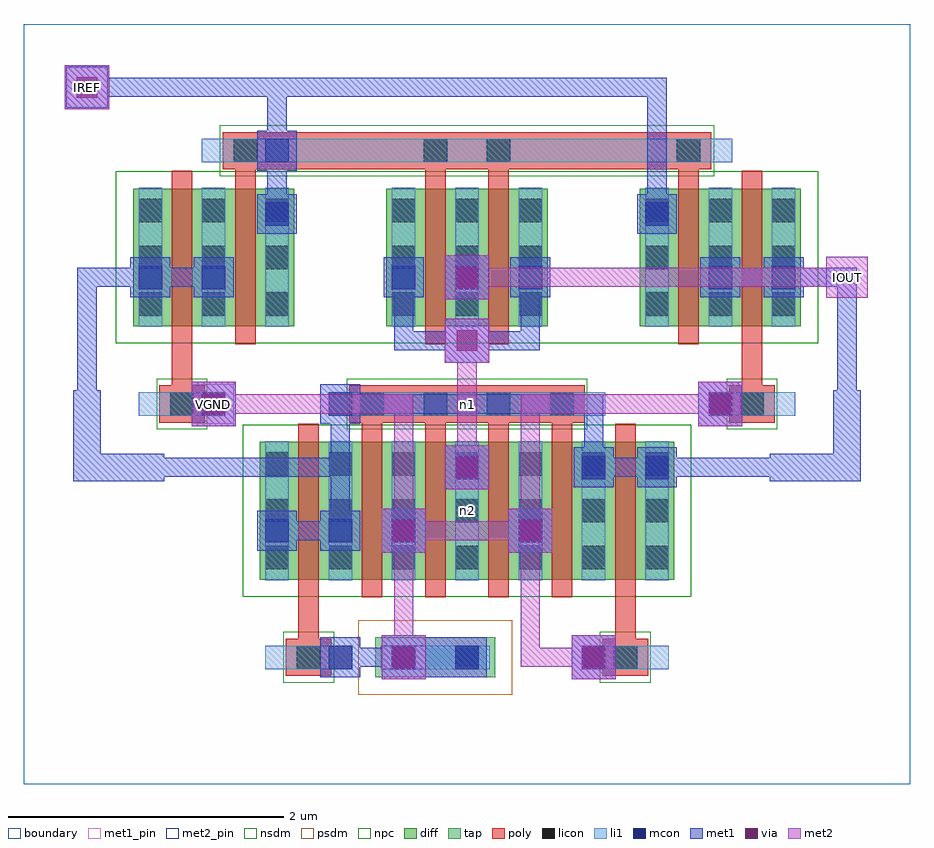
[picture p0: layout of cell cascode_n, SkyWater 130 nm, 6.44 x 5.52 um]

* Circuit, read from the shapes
.subckt cascode_n IOUT IREF VGND n1 n2
XM1 n1 VGND n1 VGND sky130_fd_pr__nfet_01v8 w=1 l=0.15 m=4
XM2 IREF IREF n1 VGND sky130_fd_pr__nfet_01v8 w=1 l=0.15 m=2
XM3 VGND n1 n1 VGND sky130_fd_pr__nfet_01v8 w=1 l=0.15 m=2
XM4 n2 n1 VGND VGND sky130_fd_pr__nfet_01v8 w=1 l=0.15 m=2
XM5 IOUT IREF n2 VGND sky130_fd_pr__nfet_01v8 w=1 l=0.15 m=2
.ends

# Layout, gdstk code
import gdstk
lib = gdstk.Library(unit=1e-6, precision=1e-09)
def R(c, l, rs):  # rectangles x0, y0, x1, y1
    for r in rs: c.add(gdstk.rectangle(r[:2], r[2:], *l))
def A(c, l, x, y, w, h, nx, ny, dx, dy):  # array of equal rectangles
    R(c, l, [(x+i*dx, y+j*dy, x+i*dx+w, y+j*dy+h) for i in range(nx) for j in range(ny)])
diff = (65, 20)
tap = (65, 44)
poly = (66, 20)
licon = (66, 44)
li1 = (67, 20)
mcon = (67, 44)
met1_pin = (68, 16)
met1 = (68, 20)
via = (68, 44)
met2_pin = (69, 16)
met2 = (69, 20)
nsdm = (93, 44)
psdm = (94, 20)
npc = (95, 20)
boundary = (235, 4)

cascode_n = lib.new_cell('cascode_n')
A(cascode_n, diff, 0.795, 3.325, 1.17, 1, 3, 1, 1.84, 0)
R(cascode_n, diff, [(1.715,1.485,4.725,2.485)])
R(cascode_n, tap, [(2.555,0.775,3.425,1.065)])
A(cascode_n, poly, 2.455, 1.355, 0.15, 1.405, 4, 1, 0.46, 0)
R(cascode_n, poly, [(1.905,0.785,2.235,1.055), (4.205,0.785,4.535,1.055), (1.995,0.92,2.145,2.615), (4.295,0.92,4.445,2.615), (0.985,2.625,1.315,2.895), (2.365,2.625,4.075,2.895), (5.125,2.625,5.455,2.895), (1.075,2.76,1.225,4.455), (5.215,2.76,5.365,4.455), (1.535,3.195,1.685,4.6), (2.915,3.195,3.065,4.6), (3.375,3.195,3.525,4.6), (4.755,3.195,4.905,4.6), (1.445,4.465,4.995,4.735)])
A(cascode_n, licon, 1.755, 1.56, 0.17, 0.17, 7, 3, 0.46, 0.34)
A(cascode_n, licon, 2.445, 2.675, 0.17, 0.17, 4, 1, 0.46, 0)
A(cascode_n, licon, 0.835, 3.4, 0.17, 0.17, 3, 3, 0.46, 0.34)
A(cascode_n, licon, 2.675, 3.4, 0.17, 0.17, 3, 3, 0.46, 0.34)
A(cascode_n, licon, 4.515, 3.4, 0.17, 0.17, 3, 3, 0.46, 0.34)
R(cascode_n, licon, [(1.985,0.835,2.155,1.005), (2.675,0.835,2.845,1.005), (3.135,0.835,3.305,1.005), (4.285,0.835,4.455,1.005), (1.065,2.675,1.235,2.845), (5.205,2.675,5.375,2.845), (1.525,4.515,1.695,4.685), (2.905,4.515,3.075,4.685), (3.365,4.515,3.535,4.685), (4.745,4.515,4.915,4.685)])
A(cascode_n, li1, 1.755, 1.48, 0.17, 1.01, 7, 1, 0.46, 0)
A(cascode_n, li1, 0.835, 3.32, 0.17, 1.01, 3, 1, 0.46, 0)
A(cascode_n, li1, 2.675, 3.32, 0.17, 1.01, 3, 1, 0.46, 0)
A(cascode_n, li1, 4.515, 3.32, 0.17, 1.01, 3, 1, 0.46, 0)
R(cascode_n, li1, [(1.755,0.835,2.385,1.005), (2.595,0.835,3.385,1.005), (4.055,0.835,4.685,1.005), (0.835,2.675,1.465,2.845), (2.215,2.675,4.225,2.845), (4.975,2.675,5.605,2.845), (1.295,4.515,5.145,4.685)])
A(cascode_n, mcon, 2.215, 0.835, 0.17, 0.17, 3, 1, 0.46, 0)
A(cascode_n, mcon, 1.755, 1.755, 0.17, 0.17, 3, 1, 0.46, 0)
A(cascode_n, mcon, 2.675, 3.595, 0.17, 0.17, 3, 1, 0.46, 0)
R(cascode_n, mcon, [(4.055,0.835,4.225,1.005), (3.595,1.755,3.765,1.925), (3.135,2.215,3.305,2.385), (4.055,2.215,4.225,2.385), (4.515,2.215,4.685,2.385), (1.295,2.675,1.465,2.845), (2.215,2.675,2.385,2.845), (4.975,2.675,5.145,2.845), (0.835,3.595,1.005,3.765), (1.295,3.595,1.465,3.765), (4.975,3.595,5.145,3.765), (5.435,3.595,5.605,3.765), (1.755,4.055,1.925,4.225), (4.515,4.055,4.685,4.225), (1.755,4.515,1.925,4.685)])
R(cascode_n, met1_pin, [(1.235,2.615,1.525,2.905)])
A(cascode_n, met1, 1.695, 1.695, 0.29, 0.29, 3, 1, 0.46, 0)
A(cascode_n, met1, 2.615, 3.535, 0.29, 0.29, 3, 1, 0.46, 0)
R(cascode_n, met1, [(2.6,0.76,2.92,1.08), (3.98,0.76,4.3,1.08), (2.155,0.775,2.445,1.065), (2.615,0.775,3.365,1.065), (3.995,0.775,4.285,1.065), (2.23,0.85,2.83,0.99), (2.69,0.85,2.83,0.99), (2.6,1.68,2.92,2), (3.52,1.68,3.84,2), (3.535,1.695,3.825,1.985), (1.77,1.77,2.37,1.91), (2.23,1.77,2.37,2.83), (3.06,2.14,3.38,2.46), (3.075,2.155,3.365,2.445), (3.995,2.155,4.285,2.445), (4.455,2.155,4.745,2.445), (0.36,2.2,1.02,2.4), (0.36,2.2,0.56,2.86), (5.42,2.2,6.08,2.4), (5.88,2.2,6.08,2.86), (0.85,2.23,2.37,2.37), (4.07,2.23,4.21,2.83), (4.07,2.23,4.67,2.37), (4.53,2.23,5.59,2.37), (1.22,2.6,1.54,2.92), (4.9,2.6,5.22,2.92), (1.235,2.615,1.525,2.905), (2.155,2.615,2.445,2.905), (4.915,2.615,5.205,2.905), (0.39,2.69,0.53,3.75), (2.23,2.69,4.21,2.83), (5.91,2.69,6.05,3.75), (3.06,3.06,3.38,3.38), (2.69,3.15,2.83,3.75), (2.69,3.15,3.29,3.29), (3.15,3.15,3.75,3.29), (3.61,3.15,3.75,3.75), (3.06,3.52,3.38,3.84), (0.775,3.535,1.065,3.825), (1.235,3.535,1.525,3.825), (4.915,3.535,5.205,3.825), (5.375,3.535,5.665,3.825), (0.39,3.61,0.99,3.75), (0.85,3.61,1.45,3.75), (4.99,3.61,5.59,3.75), (5.45,3.61,6.05,3.75), (1.695,3.995,1.985,4.285), (4.455,3.995,4.745,4.285), (1.77,4.07,1.91,4.67), (4.53,4.07,4.67,5.13), (1.695,4.455,1.985,4.745), (1.77,4.53,1.91,5.13), (0.3,4.9,0.62,5.22), (0.39,4.99,1.91,5.13), (1.77,4.99,4.67,5.13)])
R(cascode_n, via, [(2.685,0.845,2.835,0.995), (4.065,0.845,4.215,0.995), (2.685,1.765,2.835,1.915), (3.605,1.765,3.755,1.915), (3.145,2.225,3.295,2.375), (1.305,2.685,1.455,2.835), (4.985,2.685,5.135,2.835), (3.145,3.145,3.295,3.295), (3.145,3.605,3.295,3.755), (0.385,4.985,0.535,5.135)])
R(cascode_n, met2_pin, [(5.83,3.53,6.13,3.83), (0.31,4.91,0.61,5.21)])
R(cascode_n, met2, [(2.6,0.76,2.92,1.08), (3.98,0.76,4.3,1.08), (2.69,0.85,2.83,1.91), (3.61,0.85,3.75,1.91), (3.61,0.85,4.21,0.99), (2.6,1.68,2.92,2), (3.52,1.68,3.84,2), (2.69,1.77,2.83,2.83), (2.69,1.77,3.75,1.91), (3.61,1.77,3.75,2.83), (3.06,2.14,3.38,2.46), (3.15,2.23,3.29,3.29), (1.22,2.6,1.54,2.92), (4.9,2.6,5.22,2.92), (1.31,2.69,2.83,2.83), (3.61,2.69,5.13,2.83), (3.06,3.06,3.38,3.38), (3.06,3.52,3.38,3.84), (5.83,3.53,6.13,3.83), (3.15,3.61,6.05,3.75), (5.91,3.61,6.05,3.75), (0.3,4.9,0.62,5.22), (0.31,4.91,0.61,5.21), (0.39,4.99,0.53,5.13)])
R(cascode_n, nsdm, [(1.59,1.36,4.85,2.61), (0.67,3.2,5.77,4.45)])
R(cascode_n, psdm, [(2.43,0.65,3.55,1.19)])
R(cascode_n, npc, [(1.885,0.735,2.255,1.105), (4.185,0.735,4.555,1.105), (0.965,2.575,1.335,2.945), (2.345,2.575,4.095,2.945), (5.105,2.575,5.475,2.945), (1.425,4.415,5.015,4.785)])
R(cascode_n, boundary, [(0,0,6.44,5.52)])
cascode_n.add(gdstk.Label('n1', (3.22,2.76), layer=67, texttype=5))
cascode_n.add(gdstk.Label('n2', (3.22,1.985), layer=67, texttype=5))
cascode_n.add(gdstk.Label('VGND', (1.38,2.76), layer=68, texttype=5))
cascode_n.add(gdstk.Label('IREF', (0.46,5.06), layer=69, texttype=5))
cascode_n.add(gdstk.Label('IOUT', (5.98,3.68), layer=69, texttype=5))
cascode_n.add(gdstk.Label('VGND', (1.38,2.76), layer=68, texttype=16))
cascode_n.add(gdstk.Label('IREF', (0.46,5.06), layer=69, texttype=16))
cascode_n.add(gdstk.Label('IOUT', (5.98,3.68), layer=69, texttype=16))

lib.write_gds('cascode_n.gds')
